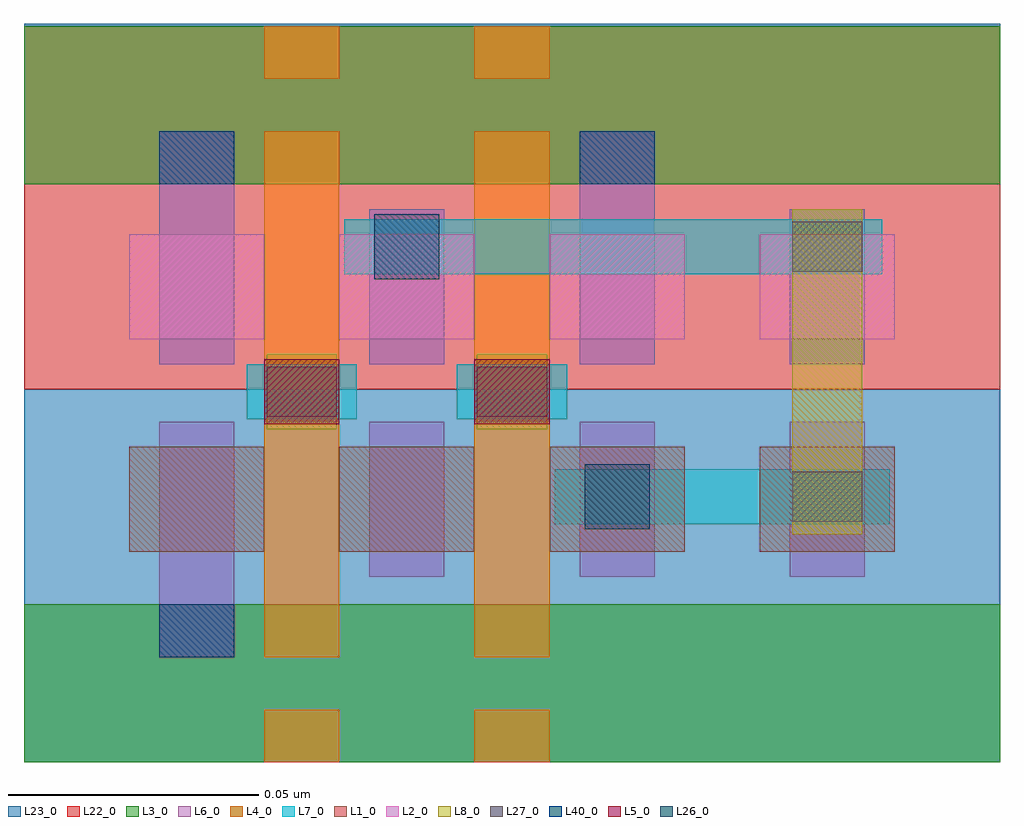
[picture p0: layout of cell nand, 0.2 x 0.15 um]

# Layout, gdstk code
import gdstk
lib = gdstk.Library(unit=1e-6, precision=2.5e-10)
def R(c, l, rs):  # rectangles x0, y0, x1, y1
    for r in rs: c.add(gdstk.rectangle(r[:2], r[2:], *l))
def A(c, l, x, y, w, h, nx, ny, dx, dy):  # array of equal rectangles
    R(c, l, [(x+i*dx, y+j*dy, x+i*dx+w, y+j*dy+h) for i in range(nx) for j in range(ny)])
L1_0 = (1, 0)
L2_0 = (2, 0)
L3_0 = (3, 0)
L4_0 = (4, 0)
L5_0 = (5, 0)
L6_0 = (6, 0)
L7_0 = (7, 0)
L8_0 = (8, 0)
L22_0 = (22, 0)
L23_0 = (23, 0)
L26_0 = (26, 0)
L27_0 = (27, 0)
L40_0 = (40, 0)

nand = lib.new_cell('nand')
A(nand, L1_0, 0.1255, 0.099, 0.027, 0.021, 4, 1, 0.042, 0)
A(nand, L2_0, 0.1255, 0.1415, 0.027, 0.021, 4, 1, 0.042, 0)
R(nand, L3_0, [(0.1045,0.057,0.2995,0.0885), (0.1045,0.1725,0.2995,0.204)])
R(nand, L4_0, [(0.1525,0.057,0.1675,0.0675), (0.1945,0.057,0.2095,0.0675), (0.1525,0.078,0.1675,0.183), (0.1945,0.078,0.2095,0.183), (0.1525,0.1935,0.1675,0.204), (0.1945,0.1935,0.2095,0.204)])
R(nand, L5_0, [(0.1525,0.1245,0.1675,0.1375), (0.1945,0.1245,0.2095,0.1375)])
A(nand, L6_0, 0.1735, 0.094, 0.015, 0.031, 3, 1, 0.042, 0)
R(nand, L6_0, [(0.1315,0.078,0.1465,0.125), (0.1315,0.1365,0.1465,0.183), (0.1735,0.1365,0.1885,0.1675), (0.2155,0.1365,0.2305,0.183), (0.2575,0.1365,0.2725,0.1675)])
R(nand, L7_0, [(0.2105,0.1045,0.2775,0.1155), (0.149,0.1255,0.171,0.1365), (0.191,0.1255,0.213,0.1365), (0.1685,0.1545,0.276,0.1655)])
R(nand, L8_0, [(0.258,0.1025,0.272,0.1675), (0.153,0.1235,0.167,0.1385), (0.195,0.1235,0.209,0.1385)])
R(nand, L22_0, [(0.1045,0.1315,0.2995,0.204)])
R(nand, L23_0, [(0.1045,0.057,0.2995,0.1315), (0.1045,0.204,0.2995,0.2045)])
R(nand, L26_0, [(0.2165,0.1035,0.2295,0.1165), (0.1745,0.1535,0.1875,0.1665)])
R(nand, L27_0, [(0.258,0.105,0.272,0.115), (0.153,0.126,0.167,0.136), (0.195,0.126,0.209,0.136), (0.258,0.155,0.272,0.165)])
R(nand, L40_0, [(0.1315,0.078,0.1465,0.0885), (0.1315,0.1725,0.1465,0.183), (0.2155,0.1725,0.2305,0.183)])

lib.write_gds('nand.gds')
